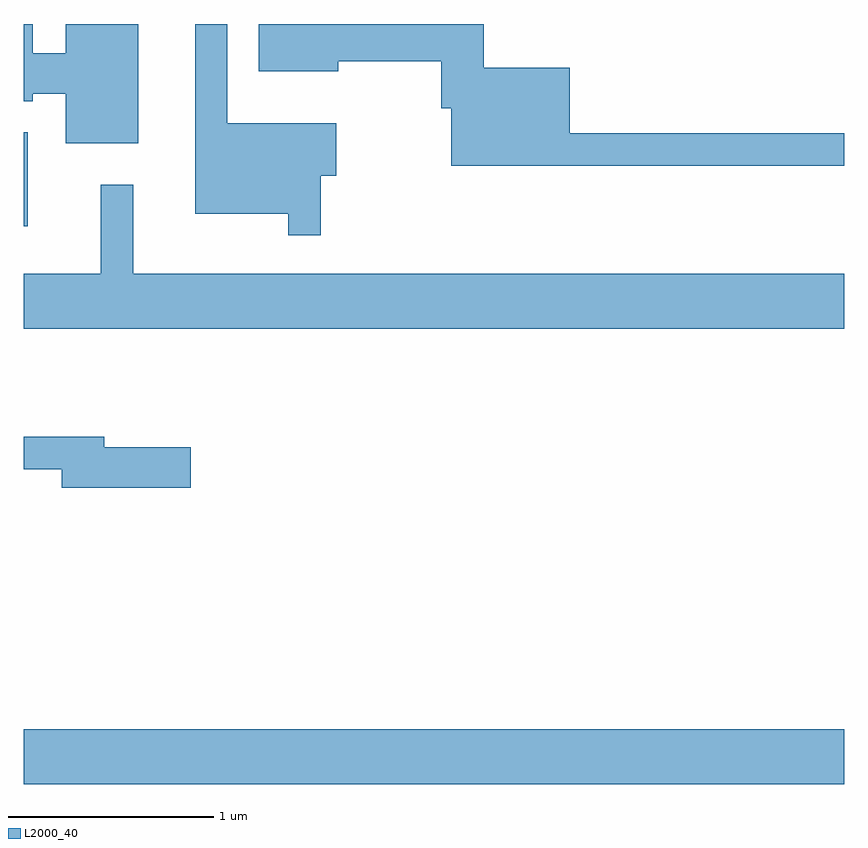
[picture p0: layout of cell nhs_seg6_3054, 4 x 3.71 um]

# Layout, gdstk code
import gdstk
lib = gdstk.Library(unit=1e-6, precision=1e-09)
def R(c, l, rs):  # rectangles x0, y0, x1, y1
    for r in rs: c.add(gdstk.rectangle(r[:2], r[2:], *l))
def P(c, l, *ps):  # polygons
    for p in ps: c.add(gdstk.Polygon(p, *l))
L2000_40 = (2000, 40)

nhs_seg6_3054 = lib.new_cell('nhs_seg6_3054')
R(nhs_seg6_3054, L2000_40, [(277.611,1574.456,281.611,1574.724), (277.611,1577.176,277.629,1577.634)])
P(nhs_seg6_3054, L2000_40, [(279.059,1577.421),(279.134,1577.421),(279.134,1577.679),(278.604,1577.679),(278.604,1578.162),(278.446,1578.162),(278.446,1577.236),(278.901,1577.236),(278.901,1577.133),(279.059,1577.133)],
  [(281.611,1577.629),(280.274,1577.629),(280.274,1577.949),(279.854,1577.949),(279.854,1578.162),(278.756,1578.162),(278.756,1577.931),(279.144,1577.931),(279.144,1577.981),(279.646,1577.981),(279.646,1577.751),(279.696,1577.751),(279.696,1577.471),(281.611,1577.471)],
  [(278.169,1578.162),(277.816,1578.162),(277.816,1578.019),(277.654,1578.019),(277.654,1578.162),(277.611,1578.162),(277.611,1577.786),(277.654,1577.786),(277.654,1577.821),(277.816,1577.821),(277.816,1577.581),(278.169,1577.581)],
  [(281.611,1576.944),(278.144,1576.944),(278.144,1577.378),(277.986,1577.378),(277.986,1576.944),(277.611,1576.944),(277.611,1576.676),(281.611,1576.676)],
  [(278.424,1576.099),(278.004,1576.099),(278.004,1576.149),(277.611,1576.149),(277.611,1575.991),(277.796,1575.991),(277.796,1575.901),(278.424,1575.901)])

lib.write_gds('nhs_seg6_3054.gds')
